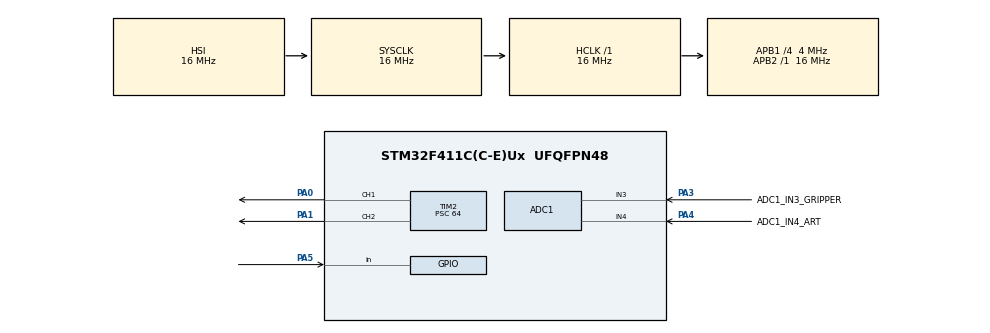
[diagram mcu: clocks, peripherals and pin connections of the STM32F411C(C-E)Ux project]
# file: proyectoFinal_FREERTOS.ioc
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ADC1.Channel-0\#ChannelRegularConversion=ADC_CHANNEL_3
ADC1.Channel-1\#ChannelRegularConversion=ADC_CHANNEL_4
ADC1.ContinuousConvMode=ENABLE
ADC1.NbrOfConversion=2
ADC1.NbrOfConversionFlag=1
ADC1.Rank-0\#ChannelRegularConversion=1
ADC1.Rank-1\#ChannelRegularConversion=2
ADC1.SamplingTime-0\#ChannelRegularConversion=ADC_SAMPLETIME_480CYCLES
ADC1.SamplingTime-1\#ChannelRegularConversion=ADC_SAMPLETIME_480CYCLES
ADC1.ScanConvMode=ENABLE
ADC1.master=1
Dma.ADC1.0.Direction=DMA_PERIPH_TO_MEMORY
Dma.ADC1.0.FIFOMode=DMA_FIFOMODE_DISABLE
Dma.ADC1.0.Instance=DMA2_Stream0
Dma.ADC1.0.MemDataAlignment=DMA_MDATAALIGN_HALFWORD
Dma.ADC1.0.MemInc=DMA_MINC_ENABLE
Dma.ADC1.0.Mode=DMA_NORMAL
Dma.ADC1.0.PeriphDataAlignment=DMA_PDATAALIGN_HALFWORD
Dma.ADC1.0.PeriphInc=DMA_PINC_DISABLE
Dma.ADC1.0.Priority=DMA_PRIORITY_LOW
Dma.Request0=ADC1
FREERTOS.Tasks01=defaultTask,24,128,StartDefaultTask,Default,NULL,Dynamic,NULL,NULL;TaskADCGripper,8,128,StartTaskADCGripper,Default,NULL,Dynamic,NULL,NULL;TaskADCArt,8,128,StartTaskADCArt,Default,NULL,Dynamic,NULL,NULL;TaskADC_Convers,24,128,StartTaskADC_ConversionComplete,Default,NULL,Dynamic,NULL,NULL;MotorGripper,24,128,StartGripper,Default,NULL,Dynamic,NULL,NULL;MotorArt,24,128,StartArt,Default,NULL,Dynamic,NULL,NULL;TaskPushButton,8,128,StartTaskButton,Default,NULL,Dynamic,NULL,NULL
FREERTOS.configUSE_NEWLIB_REENTRANT=1
Mcu.Family=STM32F4
Mcu.Name=STM32F411C(C-E)Ux
Mcu.Package=UFQFPN48
NVIC.ADC_IRQn=true\:5\:0\:false\:false\:true\:true\:true\:true\:true
NVIC.DMA2_Stream0_IRQn=true\:5\:0\:false\:false\:true\:true\:false\:true\:true
NVIC.PriorityGroup=NVIC_PRIORITYGROUP_4
NVIC.TIM2_IRQn=true\:5\:0\:false\:false\:true\:true\:true\:true\:true
NVIC.TIM5_IRQn=true\:15\:0\:false\:false\:true\:false\:false\:true\:true
NVIC.TimeBase=TIM5_IRQn
NVIC.TimeBaseIP=TIM5
PA0-WKUP.Signal=S_TIM2_CH1_ETR
PA1.Signal=S_TIM2_CH2
PA13.Mode=Serial_Wire
PA13.Signal=SYS_JTMS-SWDIO
PA14.Mode=Serial_Wire
PA14.Signal=SYS_JTCK-SWCLK
PA3.GPIO_Label=ADC1_IN3_GRIPPER
PA3.Signal=ADCx_IN3
PA4.GPIO_Label=ADC1_IN4_ART
PA4.Signal=ADCx_IN4
PA5.Signal=GPIO_Input
PC14-OSC32_IN.Mode=LSE-External-Oscillator
PC14-OSC32_IN.Signal=RCC_OSC32_IN
PC15-OSC32_OUT.Mode=LSE-External-Oscillator
PC15-OSC32_OUT.Signal=RCC_OSC32_OUT
PH0\ -\ OSC_IN.Mode=HSE-External-Oscillator
PH0\ -\ OSC_IN.Signal=RCC_OSC_IN
PH1\ -\ OSC_OUT.Mode=HSE-External-Oscillator
PH1\ -\ OSC_OUT.Signal=RCC_OSC_OUT
ProjectManager.HeapSize=0x200
ProjectManager.StackSize=0x400
ProjectManager.TargetToolchain=STM32CubeIDE
RCC.AHBFreq_Value=16000000
RCC.APB1CLKDivider=RCC_HCLK_DIV4
RCC.APB1Freq_Value=4000000
RCC.APB1TimFreq_Value=8000000
RCC.APB2Freq_Value=16000000
RCC.CortexFreq_Value=16000000
RCC.HSE_VALUE=25000000
RCC.HSI_VALUE=16000000
RCC.SYSCLKFreq_VALUE=16000000
RCC.VCOOutputFreq_Value=192000000
SH.ADCx_IN3.0=ADC1_IN3,IN3
SH.ADCx_IN4.0=ADC1_IN4,IN4
SH.S_TIM2_CH1_ETR.0=TIM2_CH1,PWM Generation1 CH1
SH.S_TIM2_CH2.0=TIM2_CH2,PWM Generation2 CH2
TIM2.Channel-PWM\ Generation1\ CH1=TIM_CHANNEL_1
TIM2.Channel-PWM\ Generation2\ CH2=TIM_CHANNEL_2
TIM2.Period=2499
TIM2.Prescaler=64
VP_FREERTOS_VS_CMSIS_V2.Mode=CMSIS_V2
VP_SYS_VS_tim5.Mode=TIM5
VP_TIM2_VS_ClockSourceINT.Mode=Internal
board=custom

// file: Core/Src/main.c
/* USER CODE BEGIN Header */
/**
  ******************************************************************************
  * @file           : main.c
  * @brief          : Main program body
  ******************************************************************************
  * @attention
  *
  * Copyright (c) 2023 STMicroelectronics.
  * All rights reserved.
  *
  * This software is licensed under terms that can be found in the LICENSE file
  * in the root directory of this software component.
  * If no LICENSE file comes with this software, it is provided AS-IS.
  *
  ******************************************************************************
  */
/* USER CODE END Header */
#include "main.h"
#include "cmsis_os.h"

ADC_HandleTypeDef hadc1;
DMA_HandleTypeDef hdma_adc1;

TIM_HandleTypeDef htim2;

/* Definitions for defaultTask */
osThreadId_t defaultTaskHandle;
const osThreadAttr_t defaultTask_attributes = {
  .name = "defaultTask",
  .stack_size = 128 * 4,
  .priority = (osPriority_t) osPriorityNormal,
};
/* Definitions for TaskADCGripper */
osThreadId_t TaskADCGripperHandle;
const osThreadAttr_t TaskADCGripper_attributes = {
  .name = "TaskADCGripper",
  .stack_size = 128 * 4,
  .priority = (osPriority_t) osPriorityLow,
};
/* Definitions for TaskADCArt */
osThreadId_t TaskADCArtHandle;
const osThreadAttr_t TaskADCArt_attributes = {
  .name = "TaskADCArt",
  .stack_size = 128 * 4,
  .priority = (osPriority_t) osPriorityLow,
};
/* Definitions for TaskADC_Convers */
osThreadId_t TaskADC_ConversHandle;
const osThreadAttr_t TaskADC_Convers_attributes = {
  .name = "TaskADC_Convers",
  .stack_size = 128 * 4,
  .priority = (osPriority_t) osPriorityNormal,
};
/* Definitions for MotorGripper */
osThreadId_t MotorGripperHandle;
const osThreadAttr_t MotorGripper_attributes = {
  .name = "MotorGripper",
  .stack_size = 128 * 4,
  .priority = (osPriority_t) osPriorityNormal,
};
/* Definitions for MotorArt */
osThreadId_t MotorArtHandle;
const osThreadAttr_t MotorArt_attributes = {
  .name = "MotorArt",
  .stack_size = 128 * 4,
  .priority = (osPriority_t) osPriorityNormal,
};
/* Definitions for TaskPushButton */
osThreadId_t TaskPushButtonHandle;
const osThreadAttr_t TaskPushButton_attributes = {
  .name = "TaskPushButton",
  .stack_size = 128 * 4,
  .priority = (osPriority_t) osPriorityLow,
};
/* USER CODE BEGIN PV */
uint16_t adcGripper, adcArt, task_adcGripper, task_adcArt;
int pwmGripper = 0, pwmArt = 0;
volatile uint16_t adcVal[2];
int objectHeld = 0;

/* USER CODE END PV */

void SystemClock_Config(void);
static void MX_GPIO_Init(void);
static void MX_DMA_Init(void);
static void MX_ADC1_Init(void);
static void MX_TIM2_Init(void);
void StartDefaultTask(void *argument);
void StartTaskADCGripper(void *argument);
void StartTaskADCArt(void *argument);
void StartTaskADC_ConversionComplete(void *argument);
void StartGripper(void *argument);
void StartArt(void *argument);
void StartTaskButton(void *argument);

int main(void)
{

  /* MCU Configuration--------------------------------------------------------*/

  /* Reset of all peripherals, Initializes the Flash interface and the Systick. */
  HAL_Init();

  /* Configure the system clock */
  SystemClock_Config();

  /* Initialize all configured peripherals */
  MX_GPIO_Init();
  MX_DMA_Init();
  MX_ADC1_Init();
  MX_TIM2_Init();
  /* USER CODE BEGIN 2 */
  HAL_TIM_PWM_Start(&htim2,TIM_CHANNEL_1);
  HAL_TIM_PWM_Start(&htim2,TIM_CHANNEL_2);
  /* USER CODE END 2 */

  /* Init scheduler */
  osKernelInitialize();

  /* Create the thread(s) */
  /* creation of defaultTask */
  defaultTaskHandle = osThreadNew(StartDefaultTask, NULL, &defaultTask_attributes);

  /* creation of TaskADCGripper */
  TaskADCGripperHandle = osThreadNew(StartTaskADCGripper, NULL, &TaskADCGripper_attributes);

  /* creation of TaskADCArt */
  TaskADCArtHandle = osThreadNew(StartTaskADCArt, NULL, &TaskADCArt_attributes);

  /* creation of TaskADC_Convers */
  TaskADC_ConversHandle = osThreadNew(StartTaskADC_ConversionComplete, NULL, &TaskADC_Convers_attributes);

  /* creation of MotorGripper */
  MotorGripperHandle = osThreadNew(StartGripper, NULL, &MotorGripper_attributes);

  /* creation of MotorArt */
  MotorArtHandle = osThreadNew(StartArt, NULL, &MotorArt_attributes);

  /* creation of TaskPushButton */
  TaskPushButtonHandle = osThreadNew(StartTaskButton, NULL, &TaskPushButton_attributes);

  /* Start scheduler */
  osKernelStart();
  /* We should never get here as control is now taken by the scheduler */
  /* Infinite loop */
  while (1)
  {

  }
}

void SystemClock_Config(void)
{
  RCC_OscInitTypeDef RCC_OscInitStruct = {0};
  RCC_ClkInitTypeDef RCC_ClkInitStruct = {0};

  /** Configure the main internal regulator output voltage
  */
  __HAL_RCC_PWR_CLK_ENABLE();
  __HAL_PWR_VOLTAGESCALING_CONFIG(PWR_REGULATOR_VOLTAGE_SCALE1);

  /** Initializes the RCC Oscillators according to the specified parameters
  * in the RCC_OscInitTypeDef structure.
  */
  RCC_OscInitStruct.OscillatorType = RCC_OSCILLATORTYPE_HSI;
  RCC_OscInitStruct.HSIState = RCC_HSI_ON;
  RCC_OscInitStruct.HSICalibrationValue = RCC_HSICALIBRATION_DEFAULT;
  RCC_OscInitStruct.PLL.PLLState = RCC_PLL_NONE;
  if (HAL_RCC_OscConfig(&RCC_OscInitStruct) != HAL_OK)
  {
    Error_Handler();
  }

  /** Initializes the CPU, AHB and APB buses clocks
  */
  RCC_ClkInitStruct.ClockType = RCC_CLOCKTYPE_HCLK|RCC_CLOCKTYPE_SYSCLK
                              |RCC_CLOCKTYPE_PCLK1|RCC_CLOCKTYPE_PCLK2;
  RCC_ClkInitStruct.SYSCLKSource = RCC_SYSCLKSOURCE_HSI;
  RCC_ClkInitStruct.AHBCLKDivider = RCC_SYSCLK_DIV1;
  RCC_ClkInitStruct.APB1CLKDivider = RCC_HCLK_DIV4;
  RCC_ClkInitStruct.APB2CLKDivider = RCC_HCLK_DIV1;

  if (HAL_RCC_ClockConfig(&RCC_ClkInitStruct, FLASH_LATENCY_0) != HAL_OK)
  {
    Error_Handler();
  }
}

static void MX_ADC1_Init(void)
{

  ADC_ChannelConfTypeDef sConfig = {0};

  /** Configure the global features of the ADC (Clock, Resolution, Data Alignment and number of conversion)
  */
  hadc1.Instance = ADC1;
  hadc1.Init.ClockPrescaler = ADC_CLOCK_SYNC_PCLK_DIV2;
  hadc1.Init.Resolution = ADC_RESOLUTION_12B;
  hadc1.Init.ScanConvMode = ENABLE;
  hadc1.Init.ContinuousConvMode = ENABLE;
  hadc1.Init.DiscontinuousConvMode = DISABLE;
  hadc1.Init.ExternalTrigConvEdge = ADC_EXTERNALTRIGCONVEDGE_NONE;
  hadc1.Init.ExternalTrigConv = ADC_SOFTWARE_START;
  hadc1.Init.DataAlign = ADC_DATAALIGN_RIGHT;
  hadc1.Init.NbrOfConversion = 2;
  hadc1.Init.DMAContinuousRequests = DISABLE;
  hadc1.Init.EOCSelection = ADC_EOC_SINGLE_CONV;
  if (HAL_ADC_Init(&hadc1) != HAL_OK)
  {
    Error_Handler();
  }

  /** Configure for the selected ADC regular channel its corresponding rank in the sequencer and its sample time.
  */
  sConfig.Channel = ADC_CHANNEL_3;
  sConfig.Rank = 1;
  sConfig.SamplingTime = ADC_SAMPLETIME_480CYCLES;
  if (HAL_ADC_ConfigChannel(&hadc1, &sConfig) != HAL_OK)
  {
    Error_Handler();
  }

  /** Configure for the selected ADC regular channel its corresponding rank in the sequencer and its sample time.
  */
  sConfig.Channel = ADC_CHANNEL_4;
  sConfig.Rank = 2;
  if (HAL_ADC_ConfigChannel(&hadc1, &sConfig) != HAL_OK)
  {
    Error_Handler();
  }

}

static void MX_TIM2_Init(void)
{

  TIM_ClockConfigTypeDef sClockSourceConfig = {0};
  TIM_MasterConfigTypeDef sMasterConfig = {0};
  TIM_OC_InitTypeDef sConfigOC = {0};

  htim2.Instance = TIM2;
  htim2.Init.Prescaler = 64;
  htim2.Init.CounterMode = TIM_COUNTERMODE_UP;
  htim2.Init.Period = 2499;
  htim2.Init.ClockDivision = TIM_CLOCKDIVISION_DIV1;
  htim2.Init.AutoReloadPreload = TIM_AUTORELOAD_PRELOAD_DISABLE;
  if (HAL_TIM_Base_Init(&htim2) != HAL_OK)
  {
    Error_Handler();
  }
  sClockSourceConfig.ClockSource = TIM_CLOCKSOURCE_INTERNAL;
  if (HAL_TIM_ConfigClockSource(&htim2, &sClockSourceConfig) != HAL_OK)
  {
    Error_Handler();
  }
  if (HAL_TIM_PWM_Init(&htim2) != HAL_OK)
  {
    Error_Handler();
  }
  sMasterConfig.MasterOutputTrigger = TIM_TRGO_RESET;
  sMasterConfig.MasterSlaveMode = TIM_MASTERSLAVEMODE_DISABLE;
  if (HAL_TIMEx_MasterConfigSynchronization(&htim2, &sMasterConfig) != HAL_OK)
  {
    Error_Handler();
  }
  sConfigOC.OCMode = TIM_OCMODE_PWM1;
  sConfigOC.Pulse = 0;
  sConfigOC.OCPolarity = TIM_OCPOLARITY_HIGH;
  sConfigOC.OCFastMode = TIM_OCFAST_DISABLE;
  if (HAL_TIM_PWM_ConfigChannel(&htim2, &sConfigOC, TIM_CHANNEL_1) != HAL_OK)
  {
    Error_Handler();
  }
  if (HAL_TIM_PWM_ConfigChannel(&htim2, &sConfigOC, TIM_CHANNEL_2) != HAL_OK)
  {
    Error_Handler();
  }
  HAL_TIM_MspPostInit(&htim2);

}

static void MX_DMA_Init(void)
{

  /* DMA controller clock enable */
  __HAL_RCC_DMA2_CLK_ENABLE();

  /* DMA interrupt init */
  /* DMA2_Stream0_IRQn interrupt configuration */
  HAL_NVIC_SetPriority(DMA2_Stream0_IRQn, 5, 0);
  HAL_NVIC_EnableIRQ(DMA2_Stream0_IRQn);

}

static void MX_GPIO_Init(void)
{
  GPIO_InitTypeDef GPIO_InitStruct = {0};

  /* GPIO Ports Clock Enable */
  __HAL_RCC_GPIOC_CLK_ENABLE();
  __HAL_RCC_GPIOH_CLK_ENABLE();
  __HAL_RCC_GPIOA_CLK_ENABLE();

  /*Configure GPIO pin : PA5 */
  GPIO_InitStruct.Pin = GPIO_PIN_5;
  GPIO_InitStruct.Mode = GPIO_MODE_INPUT;
  GPIO_InitStruct.Pull = GPIO_NOPULL;
  HAL_GPIO_Init(GPIOA, &GPIO_InitStruct);

}

/* USER CODE BEGIN 4 */

void HAL_ADC_ConvCpltCallback(ADC_HandleTypeDef* hadc){
	adcGripper = adcVal[0];
	adcArt = adcVal[1];
}

/* USER CODE END 4 */

void StartDefaultTask(void *argument)
{
  for(;;)
  {
    osDelay(1);
  }
}

void StartTaskADCGripper(void *argument)
{
  /* USER CODE BEGIN StartTaskADCGripper */
  /* Infinite loop */
  for(;;)
  {
	  task_adcGripper = adcGripper;
	      osDelay(100);

  }
  /* USER CODE END StartTaskADCGripper */
}

void StartTaskADCArt(void *argument)
{
  /* USER CODE BEGIN StartTaskADCArt */
  /* Infinite loop */
  for(;;)
  {
	  task_adcArt = adcArt;
	    osDelay(200);

  }
  /* USER CODE END StartTaskADCArt */
}

void StartTaskADC_ConversionComplete(void *argument)
{
  /* USER CODE BEGIN StartTaskADC_ConversionComplete */
  /* Infinite loop */
  for(;;)
  {
	  HAL_ADC_Start_DMA(&hadc1,(uint32_t*) adcVal, 2);
	      osDelay(100);

  }
  /* USER CODE END StartTaskADC_ConversionComplete */
}

void StartGripper(void *argument)
{
  /* USER CODE BEGIN StartGripper */
  /* Infinite loop */
  for(;;)
  {
	  TIM2->CCR1 = 123;
	  pwmGripper = 123;
	  osDelay(100);
  }
  /* USER CODE END StartGripper */
}

void StartArt(void *argument)
{
  /* USER CODE BEGIN StartArt */
  /* Infinite loop */
  for(;;)
  {
	  TIM2->CCR2 = 83;
	  pwmArt = 83;

	  osDelay(100);
  }
  /* USER CODE END StartArt */
}

void StartTaskButton(void *argument)
{
  /* USER CODE BEGIN StartTaskButton */
  /* Infinite loop */
  for(;;)
  {
	  if(HAL_GPIO_ReadPin(GPIOA, GPIO_PIN_5) == GPIO_PIN_RESET){
		  objectHeld = 0;
	  }
	  else{
		  objectHeld = 1;
	  }
    osDelay(1);
  }
  /* USER CODE END StartTaskButton */
}

void HAL_TIM_PeriodElapsedCallback(TIM_HandleTypeDef *htim)
{
  if (htim->Instance == TIM5) {
    HAL_IncTick();
  }
}

void Error_Handler(void)
{
  __disable_irq();
  while (1)
  {
  }
}
